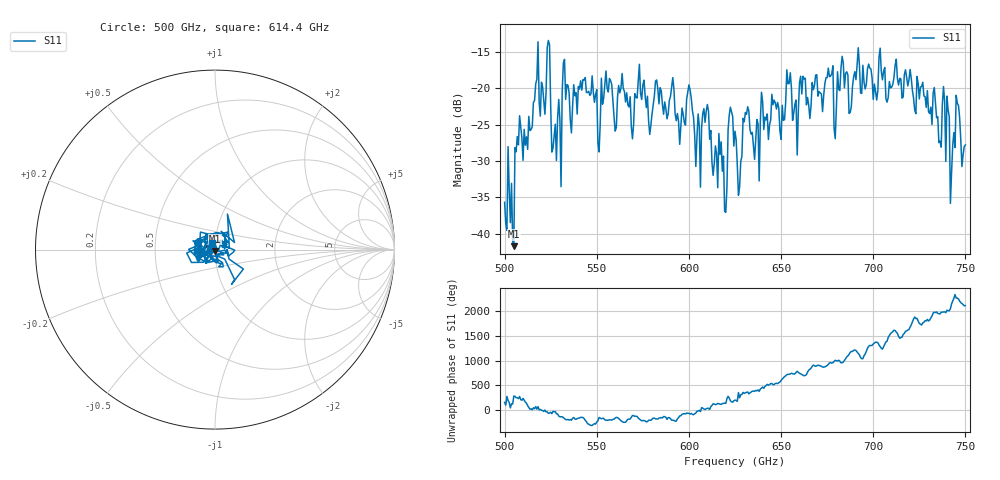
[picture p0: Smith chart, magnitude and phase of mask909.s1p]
!Created with skrf (http://scikit-rf.org).
# GHz S MA R 50.0
!freq magS11 angS11
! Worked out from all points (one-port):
!   401 points, 500 GHz to 750 GHz, reference 50 ohm
!   lowest |S11| = -41.7 dB at 505 GHz (marker M1), VSWR 1.02, Z = 50.2 - j0.8 ohm
!   |S11| at or under -10 dB: start of sweep to end of sweep
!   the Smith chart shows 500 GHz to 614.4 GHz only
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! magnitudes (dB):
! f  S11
! 500 GHz  -35.7
! 505 GHz  -41.7
! 506.9 GHz  -26.6
! 513.8 GHz  -25.8
! 516.9 GHz  -19.4
! 523.8 GHz  -13.4
! 526.9 GHz  -26.6
! 531.2 GHz  -20.4
! 562.5 GHz  -20.6
! 590.6 GHz  -19.8
! 593.8 GHz  -23.5
! 600 GHz  -19.5
! 605 GHz  -23.5
! 609.4 GHz  -23.1
! 619.4 GHz  -36.9
! 622.5 GHz  -22.6
! 625 GHz  -25.9
! 627.5 GHz  -33.5
! 630.6 GHz  -23.3
! 636.9 GHz  -24.3
! 656.2 GHz  -24.4
! 676.9 GHz  -18.3
! 680 GHz  -22.7
! 683.8 GHz  -16.5
! 687.5 GHz  -23.3
! 691.2 GHz  -16.8
! 718.8 GHz  -19.6
! 750 GHz  -27.8
